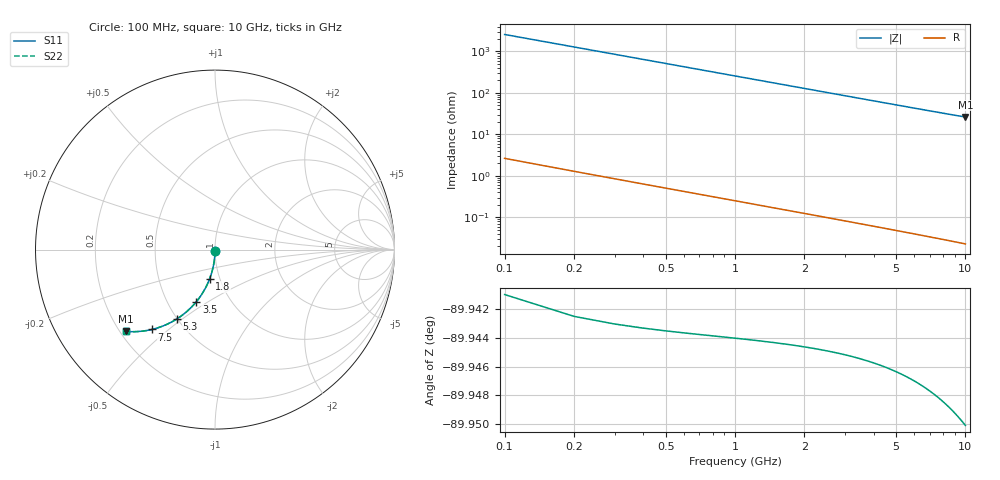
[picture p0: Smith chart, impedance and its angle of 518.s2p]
# Hz S RI R 50.00
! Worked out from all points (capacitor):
!   100 points, 100 MHz to 10 GHz, reference 50 ohm
!   read as one part in shunt: C = 618 fF near 100 MHz
!   lowest |Z| = 26.3 ohm at 10 GHz (marker M1)
!   S11 on the Smith chart (normalised r, x): 100 MHz: 1.00, -0.02; 1.8 GHz: 0.90, -0.30; 3.5 GHz: 0.69, -0.45; 5.3 GHz: 0.50, -0.48; 7.5 GHz: 0.33, -0.44; 10 GHz: 0.22, -0.37
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1e8  2.82e-06 -0.00929  0.9998 -0.0101  0.9998 -0.0101  2.82e-06 -0.00929
2e8  -0.000288 -0.0186  0.9995 -0.0203  0.9995 -0.0203  -0.000288 -0.0186
3e8  -0.000768 -0.0278  0.999 -0.0304  0.999 -0.0304  -0.000768 -0.0278
4e8  -0.00143 -0.0371  0.9983 -0.0405  0.9983 -0.0405  -0.00143 -0.0371
5e8  -0.00229 -0.0463  0.9975 -0.0506  0.9975 -0.0506  -0.00229 -0.0463
6e8  -0.00333 -0.0556  0.9964 -0.0606  0.9964 -0.0606  -0.00333 -0.0556
8e8  -0.00596 -0.0739  0.9938 -0.0807  0.9938 -0.0807  -0.00596 -0.0739
1.1e9  -0.0113 -0.101  0.9885 -0.1104  0.9885 -0.1104  -0.0113 -0.101
1.4e9  -0.0182 -0.1277  0.9815 -0.1396  0.9815 -0.1396  -0.0182 -0.1277
1.8e9  -0.0297 -0.1622  0.9699 -0.1775  0.9699 -0.1775  -0.0297 -0.1622
2.1e9  -0.0401 -0.1872  0.9595 -0.205  0.9595 -0.205  -0.0401 -0.1872
2.5e9  -0.0559 -0.2191  0.9436 -0.2404  0.9436 -0.2404  -0.0559 -0.2191
2.9e9  -0.0739 -0.2492  0.9256 -0.2739  0.9256 -0.2739  -0.0739 -0.2492
3.4e9  -0.099 -0.2841  0.9004 -0.3131  0.9004 -0.3131  -0.099 -0.2841
3.5e9  -0.1043 -0.2907  0.895 -0.3205  0.895 -0.3205  -0.1043 -0.2907
4.3e9  -0.1499 -0.3385  0.8492 -0.3752  0.8492 -0.3752  -0.1499 -0.3385
5.1e9  -0.1992 -0.3775  0.7996 -0.4212  0.7996 -0.4212  -0.1992 -0.3775
5.3e9  -0.2119 -0.3859  0.7869 -0.4313  0.7869 -0.4313  -0.2119 -0.3859
6.7e9  -0.3018 -0.4301  0.6963 -0.4878  0.6963 -0.4878  -0.3018 -0.4301
7.5e9  -0.3522 -0.4451  0.6454 -0.5099  0.6454 -0.5099  -0.3522 -0.4451
8.4e9  -0.4066 -0.4545  0.5905 -0.5274  0.5905 -0.5274  -0.4066 -0.4545
1e10  -0.4948 -0.4558  0.5011 -0.5432  0.5011 -0.5432  -0.4948 -0.4558
